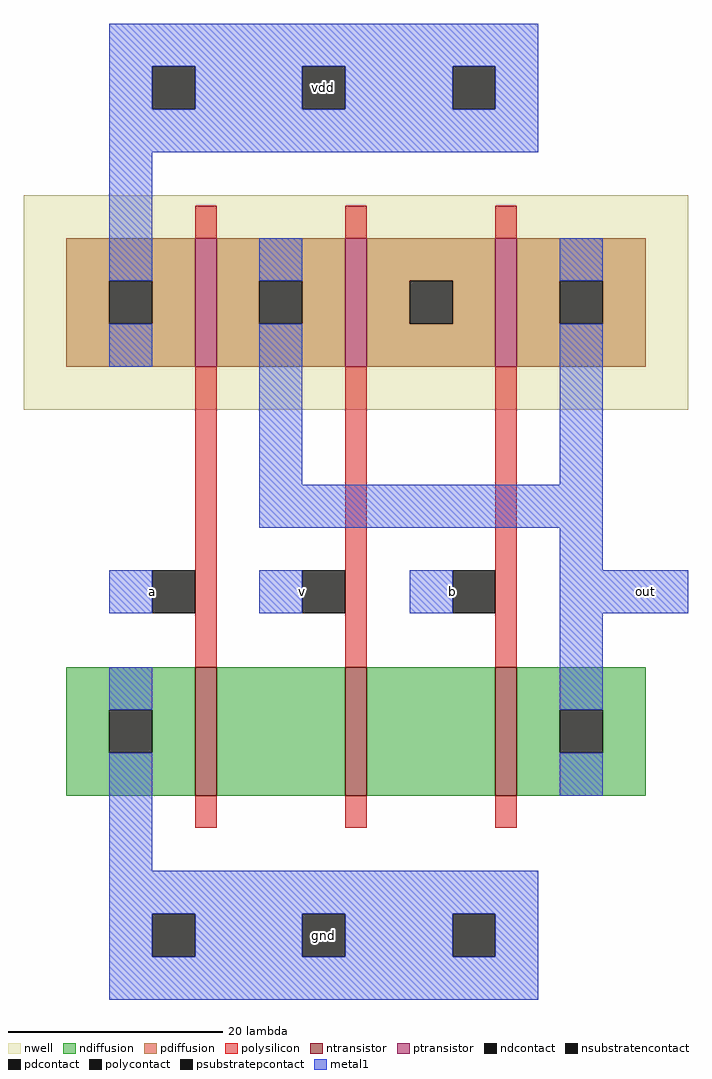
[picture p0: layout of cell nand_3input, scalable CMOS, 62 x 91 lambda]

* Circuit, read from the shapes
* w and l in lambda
.subckt nand_3input a b gnd out v vdd
M1 n1 a gnd vdd nfet w=12 l=2
M2 n2 v n1 vdd nfet w=12 l=2
M3 out b n2 vdd nfet w=12 l=2
M4 out a vdd n3 pfet w=12 l=2
M5 n4 v out n3 pfet w=12 l=2
M6 out b n4 n3 pfet w=12 l=2
.ends

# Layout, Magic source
magic
tech scmos
<< nwell >>
rect -8 -8 54 12
<< polysilicon >>
rect 8 8 10 11
rect 22 8 24 11
rect 36 8 38 11
rect 8 -32 10 -4
rect 22 -32 24 -4
rect 36 -32 38 -4
rect 8 -47 10 -44
rect 22 -47 24 -44
rect 36 -47 38 -44
<< ndiffusion >>
rect -4 -36 8 -32
rect -4 -40 0 -36
rect 4 -40 8 -36
rect -4 -44 8 -40
rect 10 -44 22 -32
rect 24 -44 36 -32
rect 38 -36 50 -32
rect 38 -40 42 -36
rect 46 -40 50 -36
rect 38 -44 50 -40
<< pdiffusion >>
rect -4 4 8 8
rect -4 0 0 4
rect 4 0 8 4
rect -4 -4 8 0
rect 10 4 22 8
rect 10 0 14 4
rect 18 0 22 4
rect 10 -4 22 0
rect 24 4 36 8
rect 24 0 28 4
rect 32 0 36 4
rect 24 -4 36 0
rect 38 4 50 8
rect 38 0 42 4
rect 46 0 50 4
rect 38 -4 50 0
<< metal1 >>
rect 0 24 40 28
rect 0 20 4 24
rect 8 20 18 24
rect 22 20 32 24
rect 36 20 40 24
rect 0 16 40 20
rect 0 4 4 16
rect 0 -4 4 0
rect 14 4 18 8
rect 42 4 46 8
rect 14 -15 18 0
rect 42 -15 46 0
rect 14 -19 46 -15
rect 42 -23 46 -19
rect 0 -27 4 -23
rect 14 -27 18 -23
rect 28 -27 32 -23
rect 42 -27 54 -23
rect 0 -36 4 -32
rect 0 -51 4 -40
rect 42 -36 46 -27
rect 42 -44 46 -40
rect 0 -55 40 -51
rect 0 -59 4 -55
rect 8 -59 18 -55
rect 22 -59 32 -55
rect 36 -59 40 -55
rect 0 -63 40 -59
<< ntransistor >>
rect 8 -44 10 -32
rect 22 -44 24 -32
rect 36 -44 38 -32
<< ptransistor >>
rect 8 -4 10 8
rect 22 -4 24 8
rect 36 -4 38 8
<< polycontact >>
rect 4 -27 8 -23
rect 18 -27 22 -23
rect 32 -27 36 -23
<< ndcontact >>
rect 0 -40 4 -36
rect 42 -40 46 -36
<< pdcontact >>
rect 0 0 4 4
rect 14 0 18 4
rect 28 0 32 4
rect 42 0 46 4
<< psubstratepcontact >>
rect 4 20 8 24
rect 18 20 22 24
rect 32 20 36 24
<< nsubstratencontact >>
rect 4 -59 8 -55
rect 18 -59 22 -55
rect 32 -59 36 -55
<< labels >>
rlabel metal1 0 16 40 28 1 vdd
rlabel metal1 0 -63 40 -51 1 gnd
rlabel metal1 0 -27 8 -23 1 a
rlabel metal1 14 -27 22 -23 1 v
rlabel metal1 28 -27 36 -23 1 b
rlabel metal1 46 -27 54 -23 7 out
<< end >>
